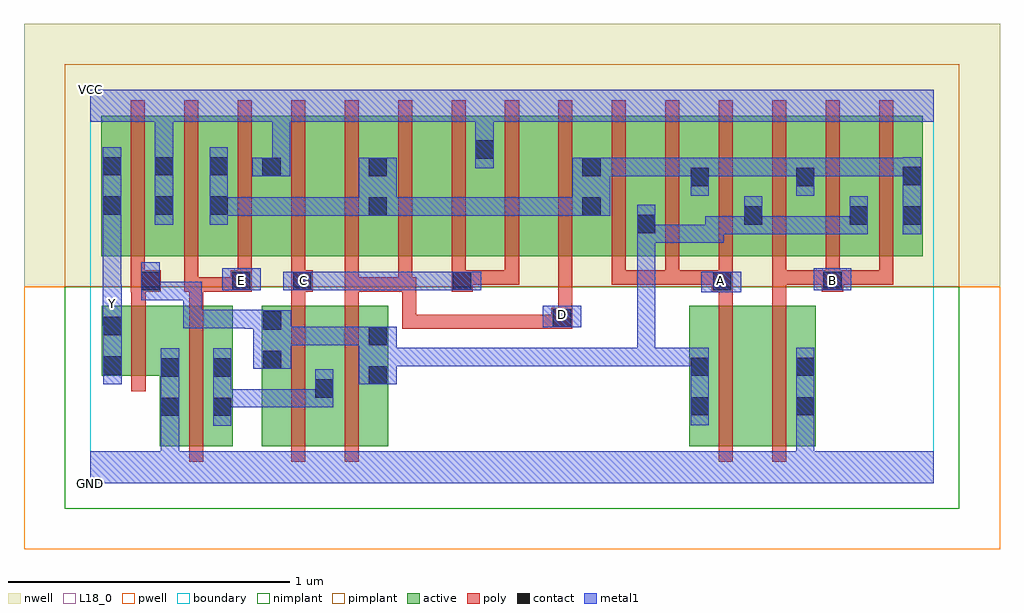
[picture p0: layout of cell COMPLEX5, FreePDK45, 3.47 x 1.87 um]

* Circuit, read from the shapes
.subckt COMPLEX5 A B C D E GND VCC Y
M1 GND n1 Y VSUBS nfet w=0.25u l=0.05u
M2 n2 E GND VSUBS nfet w=0.5u l=0.05u
M3 n2 C n1 VSUBS nfet w=0.5u l=0.05u
M4 n1 D n2 VSUBS nfet w=0.5u l=0.05u
M5 n3 A n1 VSUBS nfet w=0.5u l=0.05u
M6 GND B n3 VSUBS nfet w=0.5u l=0.05u
M7 VCC n1 Y n4 pfet w=0.5u l=0.05u
M8 n5 E VCC n4 pfet w=0.5u l=0.05u m=2
M9 n6 C VCC n4 pfet w=0.5u l=0.05u
M10 n5 D n6 n4 pfet w=0.5u l=0.05u
M11 n7 D n5 n4 pfet w=0.5u l=0.05u
M12 VCC C n7 n4 pfet w=0.5u l=0.05u
M13 n8 C VCC n4 pfet w=0.5u l=0.05u
M14 n5 D n8 n4 pfet w=0.5u l=0.05u
M15 n1 A n5 n4 pfet w=0.5u l=0.05u m=3
M16 n5 B n1 n4 pfet w=0.5u l=0.05u m=3
.ends

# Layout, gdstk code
import gdstk
lib = gdstk.Library(unit=1e-6, precision=1e-09)
def R(c, l, rs):  # rectangles x0, y0, x1, y1
    for r in rs: c.add(gdstk.rectangle(r[:2], r[2:], *l))
def A(c, l, x, y, w, h, nx, ny, dx, dy):  # array of equal rectangles
    R(c, l, [(x+i*dx, y+j*dy, x+i*dx+w, y+j*dy+h) for i in range(nx) for j in range(ny)])
active = (1, 0)
pwell = (2, 0)
nwell = (3, 0)
nimplant = (4, 0)
pimplant = (5, 0)
poly = (9, 0)
contact = (10, 0)
metal1 = (11, 0)
L18_0 = (18, 0)
boundary = (235, 0)

complex5 = lib.new_cell('COMPLEX5')
A(complex5, active, 0.835, 0.807, 0.225, 0.5, 3, 1, 0.38, 0)
R(complex5, active, [(0.247,0.132,0.507,0.632), (0.247,0.132,0.322,0.592), (0.61,0.132,0.87,0.632), (0.795,0.132,1.06,0.632), (2.13,0.132,2.355,0.632), (2.355,0.132,2.58,0.632), (0.432,0.145,0.507,0.632), (0.61,0.145,0.685,0.632), (0.795,0.145,0.87,0.592), (0.985,0.145,1.06,0.632), (2.13,0.145,2.235,0.632), (2.505,0.145,2.58,0.632), (0.042,0.382,0.322,0.632), (0.042,0.382,0.117,0.632), (0.04,0.807,0.3,1.307), (0.04,0.807,0.115,1.2), (0.225,0.807,0.495,1.307), (0.225,0.807,0.3,1.307), (0.42,0.807,0.495,1.2), (0.42,0.807,0.682,1.307), (0.607,0.807,0.682,1.307), (0.607,0.807,0.835,1.307), (0.985,0.807,1.06,1.2), (0.985,0.807,1.215,1.307), (1.365,0.807,1.595,1.307), (1.365,0.807,1.44,1.307), (1.745,0.807,1.82,1.2), (1.745,0.807,2.015,1.307), (1.94,0.807,2.205,1.307), (1.94,0.807,2.015,1.07), (2.13,0.807,2.395,1.307), (2.13,0.807,2.205,1.2), (2.32,0.807,2.58,1.307), (2.32,0.807,2.395,1.07), (2.505,0.807,2.77,1.307), (2.505,0.807,2.58,1.2), (2.695,0.807,2.96,1.307), (2.695,0.807,2.77,1.07), (2.885,0.807,2.96,1.2)])
R(complex5, pwell, [(-0.235,-0.235,3.235,0.7)])
R(complex5, nwell, [(-0.235,0.7,3.235,1.635)])
R(complex5, nimplant, [(-0.09,-0.09,3.09,0.7)])
R(complex5, pimplant, [(-0.09,0.7,3.09,1.49)])
A(complex5, poly, 1.855, 0.707, 0.05, 0.095, 6, 1, 0.19, 0)
A(complex5, poly, 0.145, 0.752, 0.05, 0.61, 15, 1, 0.19, 0)
R(complex5, poly, [(0.352,0.077,0.402,0.687), (0.715,0.077,0.765,0.687), (0.905,0.077,0.955,0.687), (2.235,0.077,2.285,0.687), (2.425,0.077,2.475,0.687), (0.147,0.327,0.197,0.687), (1.11,0.55,1.36,0.6), (1.11,0.55,1.16,0.712), (1.31,0.55,1.36,0.6), (1.31,0.55,1.36,0.6), (1.31,0.55,1.36,0.6), (1.31,0.55,1.492,0.6), (1.442,0.55,1.492,0.6), (1.442,0.55,1.69,0.6), (1.64,0.55,1.69,0.6), (1.64,0.55,1.69,0.6), (1.64,0.55,1.69,0.6), (1.64,0.55,1.69,0.6), (1.64,0.55,1.69,0.6), (1.64,0.55,1.69,0.6), (1.64,0.55,1.715,0.625), (1.665,0.575,1.715,0.802), (0.147,0.637,0.197,0.732), (0.352,0.637,0.402,0.732), (0.715,0.637,0.765,0.732), (0.905,0.637,0.955,0.732), (2.235,0.637,2.285,0.732), (2.425,0.637,2.475,0.757), (1.11,0.662,1.16,0.712), (1.11,0.662,1.16,0.732), (0.145,0.682,0.252,0.757), (0.335,0.682,0.385,0.802), (0.335,0.682,0.402,0.732), (0.352,0.682,0.55,0.732), (0.5,0.682,0.55,0.732), (0.5,0.682,0.55,0.732), (0.5,0.682,0.575,0.757), (0.715,0.682,0.792,0.757), (0.905,0.682,0.955,0.732), (0.905,0.682,0.955,0.732), (0.905,0.682,0.955,0.732), (0.905,0.682,0.955,0.802), (0.905,0.682,1.145,0.732), (1.095,0.682,1.145,0.732), (1.095,0.682,1.145,0.732), (1.095,0.682,1.145,0.802), (1.095,0.682,1.16,0.732), (1.11,0.682,1.16,0.732), (1.285,0.682,1.36,0.757), (2.21,0.682,2.285,0.757), (2.602,0.682,2.677,0.757), (0.145,0.707,0.195,0.802), (0.525,0.707,0.575,0.802), (0.715,0.707,0.765,0.802), (1.285,0.707,1.335,0.802), (1.31,0.707,1.36,0.757), (1.31,0.707,1.36,0.757), (1.31,0.707,1.525,0.757), (1.475,0.707,1.525,0.802), (1.475,0.707,1.525,0.757), (1.855,0.707,1.905,0.757), (1.855,0.707,1.905,0.757), (1.855,0.707,1.905,0.757), (1.855,0.707,2.095,0.757), (2.045,0.707,2.095,0.757), (2.045,0.707,2.26,0.757), (2.21,0.707,2.26,0.757), (2.21,0.707,2.26,0.757), (2.425,0.707,2.475,0.757), (2.425,0.707,2.652,0.757), (2.602,0.707,2.652,0.757), (2.602,0.707,2.652,0.757), (2.627,0.707,2.855,0.757), (2.805,0.707,2.855,0.757), (2.805,0.707,2.855,0.757), (2.805,0.707,2.855,0.757)])
R(complex5, contact, [(0.252,0.24,0.317,0.305), (0.437,0.24,0.502,0.305), (2.135,0.242,2.2,0.307), (2.51,0.242,2.575,0.307), (0.8,0.305,0.865,0.37), (0.99,0.352,1.055,0.417), (0.252,0.38,0.317,0.445), (0.437,0.38,0.502,0.445), (2.135,0.382,2.2,0.447), (2.51,0.382,2.575,0.447), (0.047,0.387,0.112,0.452), (0.615,0.407,0.68,0.472), (0.99,0.492,1.055,0.557), (0.047,0.527,0.112,0.592), (0.615,0.547,0.68,0.612), (1.645,0.555,1.71,0.62), (0.182,0.687,0.247,0.752), (0.505,0.687,0.57,0.752), (0.722,0.687,0.787,0.752), (1.29,0.687,1.355,0.752), (2.215,0.687,2.28,0.752), (2.607,0.687,2.672,0.752), (1.945,0.89,2.01,0.955), (2.325,0.92,2.39,0.985), (2.7,0.92,2.765,0.985), (2.89,0.92,2.955,0.985), (0.99,0.952,1.055,1.017), (1.75,0.952,1.815,1.017), (0.045,0.955,0.11,1.02), (0.23,0.955,0.295,1.02), (0.425,0.955,0.49,1.02), (2.135,1.057,2.2,1.122), (2.51,1.057,2.575,1.122), (2.89,1.06,2.955,1.125), (0.612,1.092,0.677,1.157), (0.99,1.092,1.055,1.157), (1.75,1.092,1.815,1.157), (0.045,1.095,0.11,1.16), (0.23,1.095,0.295,1.16), (0.425,1.095,0.49,1.16), (1.37,1.155,1.435,1.22)])
R(complex5, metal1, [(0,0,3,0.115), (0.252,0.05,0.317,0.115), (0.252,0.05,0.317,0.115), (0.252,0.05,0.317,0.27), (2.51,0.05,2.575,0.115), (2.51,0.05,2.575,0.115), (2.51,0.05,2.575,0.272), (0.252,0.205,0.317,0.48), (0.437,0.205,0.502,0.48), (2.135,0.207,2.2,0.482), (2.51,0.207,2.575,0.482), (0.437,0.27,0.615,0.335), (0.55,0.27,0.615,0.335), (0.55,0.27,0.64,0.335), (0.575,0.27,0.64,0.335), (0.575,0.27,0.865,0.335), (0.8,0.27,0.865,0.335), (0.8,0.27,0.865,0.335), (0.8,0.27,0.865,0.405), (0.047,0.352,0.112,0.627), (0.955,0.352,1.09,0.557), (0.58,0.407,0.715,0.615), (1.025,0.417,1.157,0.482), (1.092,0.417,1.157,0.482), (1.092,0.417,1.227,0.482), (1.162,0.417,1.227,0.482), (1.162,0.417,1.32,0.482), (1.255,0.417,1.32,0.482), (1.255,0.417,1.502,0.482), (1.437,0.417,1.502,0.482), (1.437,0.417,1.505,0.482), (1.44,0.417,1.505,0.482), (1.44,0.417,1.642,0.482), (1.577,0.417,1.642,0.482), (1.577,0.417,1.642,0.482), (1.577,0.417,1.642,0.482), (1.577,0.417,1.78,0.482), (1.715,0.417,1.78,0.482), (1.715,0.417,1.78,0.482), (1.715,0.417,1.78,0.482), (1.715,0.417,2.01,0.482), (1.945,0.417,2.01,0.482), (1.945,0.417,2.01,0.482), (1.945,0.417,2.01,0.482), (1.945,0.417,2.2,0.482), (1.945,0.417,2.01,0.92), (0.65,0.492,0.882,0.557), (0.817,0.492,0.882,0.557), (0.817,0.492,0.882,0.557), (0.817,0.492,0.882,0.557), (0.817,0.492,1.02,0.557), (0.955,0.492,1.02,0.557), (0.955,0.492,1.02,0.557), (0.55,0.55,0.645,0.615), (0.55,0.55,0.615,0.617), (0.332,0.552,0.397,0.617), (0.332,0.552,0.615,0.617), (0.332,0.552,0.397,0.717), (1.61,0.555,1.747,0.632), (0.045,0.562,0.112,0.707), (0.047,0.562,0.112,0.627), (0.045,0.642,0.11,0.985), (0.182,0.652,0.247,0.787), (0.182,0.652,0.25,0.717), (0.185,0.652,0.25,0.717), (0.185,0.652,0.397,0.717), (0.332,0.652,0.397,0.717), (0.332,0.652,0.397,0.717), (0.332,0.652,0.397,0.717), (2.172,0.68,2.315,0.752), (0.47,0.687,0.607,0.765), (0.687,0.687,0.852,0.752), (0.787,0.687,0.852,0.752), (0.787,0.687,0.852,0.752), (0.787,0.687,1.02,0.752), (0.955,0.687,1.02,0.752), (0.955,0.687,1.02,0.752), (0.955,0.687,1.02,0.752), (0.955,0.687,1.157,0.752), (1.092,0.687,1.157,0.752), (1.092,0.687,1.227,0.752), (1.162,0.687,1.227,0.752), (1.162,0.687,1.32,0.752), (1.255,0.687,1.39,0.752), (2.572,0.687,2.707,0.765), (1.945,0.855,2.01,0.92), (1.945,0.855,2.01,0.92), (1.945,0.855,2.01,0.92), (1.945,0.855,2.01,0.92), (1.945,0.855,2.01,0.99), (1.945,0.855,2.252,0.92), (2.187,0.855,2.252,0.95), (2.187,0.885,2.252,0.95), (2.187,0.885,2.252,0.95), (2.187,0.885,2.39,0.95), (2.325,0.885,2.39,0.95), (2.325,0.885,2.39,0.95), (2.325,0.885,2.39,1.02), (2.325,0.885,2.627,0.95), (2.562,0.885,2.627,0.95), (2.562,0.885,2.765,0.95), (2.7,0.885,2.765,0.95), (2.7,0.885,2.765,0.95), (2.7,0.885,2.765,1.02), (2.89,0.885,2.955,1.16), (0.045,0.92,0.11,1.195), (0.23,0.92,0.295,1.195), (0.425,0.92,0.49,1.195), (0.425,0.952,0.535,1.017), (0.47,0.952,0.535,1.017), (0.47,0.952,0.64,1.017), (0.575,0.952,0.64,1.017), (0.575,0.952,0.852,1.017), (0.787,0.952,0.852,1.017), (0.787,0.952,0.852,1.017), (0.787,0.952,0.852,1.017), (0.787,0.952,1.02,1.017), (0.955,0.952,1.02,1.017), (0.955,0.952,1.02,1.017), (0.955,0.952,1.09,1.157), (1.025,0.952,1.157,1.017), (1.092,0.952,1.157,1.017), (1.092,0.952,1.227,1.017), (1.162,0.952,1.227,1.017), (1.162,0.952,1.365,1.017), (1.3,0.952,1.365,1.017), (1.3,0.952,1.365,1.017), (1.3,0.952,1.365,1.017), (1.3,0.952,1.505,1.017), (1.44,0.952,1.505,1.017), (1.44,0.952,1.642,1.017), (1.577,0.952,1.642,1.017), (1.577,0.952,1.642,1.017), (1.577,0.952,1.642,1.017), (1.577,0.952,1.78,1.017), (1.715,0.952,1.85,1.157), (2.135,1.022,2.2,1.157), (2.51,1.022,2.575,1.157), (0.577,1.092,0.712,1.157), (0.647,1.092,0.712,1.35), (1.785,1.092,1.85,1.157), (1.785,1.092,1.85,1.157), (1.785,1.092,1.85,1.157), (1.785,1.092,1.85,1.157), (1.785,1.092,2.01,1.157), (1.945,1.092,2.01,1.157), (1.945,1.092,2.01,1.157), (1.945,1.092,2.01,1.157), (1.945,1.092,2.2,1.157), (2.135,1.092,2.2,1.157), (2.135,1.092,2.2,1.157), (2.135,1.092,2.39,1.157), (2.325,1.092,2.39,1.157), (2.325,1.092,2.452,1.157), (2.387,1.092,2.452,1.157), (2.387,1.092,2.575,1.157), (2.51,1.092,2.817,1.157), (2.752,1.092,2.817,1.157), (2.752,1.092,2.817,1.157), (2.752,1.092,2.817,1.157), (2.752,1.092,2.955,1.157), (2.89,1.092,2.955,1.157), (2.89,1.092,2.955,1.157), (1.37,1.12,1.435,1.255), (0.23,1.13,0.295,1.35), (1.37,1.19,1.435,1.35), (0,1.285,3,1.4)])
R(complex5, L18_0, [(0,0,3,0.115), (0.252,0.05,0.317,0.115), (0.252,0.05,0.317,0.115), (0.252,0.05,0.317,0.27), (2.51,0.05,2.575,0.115), (2.51,0.05,2.575,0.115), (2.51,0.05,2.575,0.272), (0.252,0.205,0.317,0.48), (2.51,0.207,2.575,0.482), (0.047,0.352,0.112,0.627), (1.61,0.555,1.747,0.632), (0.045,0.562,0.112,0.707), (0.047,0.562,0.112,0.627), (1.647,0.567,1.712,0.632), (0.047,0.607,0.112,0.672), (0.045,0.642,0.11,0.985), (2.172,0.68,2.315,0.752), (0.47,0.687,0.607,0.765), (0.507,0.687,0.572,0.752), (0.687,0.687,0.852,0.752), (0.727,0.687,0.792,0.752), (0.787,0.687,0.852,0.752), (0.787,0.687,0.852,0.752), (0.787,0.687,1.02,0.752), (0.955,0.687,1.02,0.752), (0.955,0.687,1.02,0.752), (0.955,0.687,1.02,0.752), (0.955,0.687,1.157,0.752), (1.092,0.687,1.157,0.752), (1.092,0.687,1.227,0.752), (1.162,0.687,1.227,0.752), (1.162,0.687,1.32,0.752), (1.255,0.687,1.39,0.752), (2.207,0.687,2.272,0.752), (2.572,0.687,2.707,0.765), (2.607,0.687,2.672,0.752), (0.045,0.92,0.11,1.195), (0.23,0.92,0.295,1.195), (0.577,1.092,0.712,1.157), (0.647,1.092,0.712,1.35), (1.37,1.12,1.435,1.255), (0.23,1.13,0.295,1.35), (1.37,1.19,1.435,1.35), (0,1.285,3,1.4)])
R(complex5, boundary, [(0,0,3,1.4)])
complex5.add(gdstk.Label('A', (2.24,0.72), layer=11, texttype=0))
complex5.add(gdstk.Label('B', (2.64,0.72), layer=11, texttype=0))
complex5.add(gdstk.Label('C', (0.76,0.72), layer=11, texttype=0))
complex5.add(gdstk.Label('D', (1.68,0.6), layer=11, texttype=0))
complex5.add(gdstk.Label('E', (0.54,0.72), layer=11, texttype=0))
complex5.add(gdstk.Label('Y', (0.08,0.64), layer=11, texttype=0))
complex5.add(gdstk.Label('VCC', (0,1.4), layer=11, texttype=0))
complex5.add(gdstk.Label('GND', (0,0), layer=11, texttype=0))

lib.write_gds('COMPLEX5.gds')
